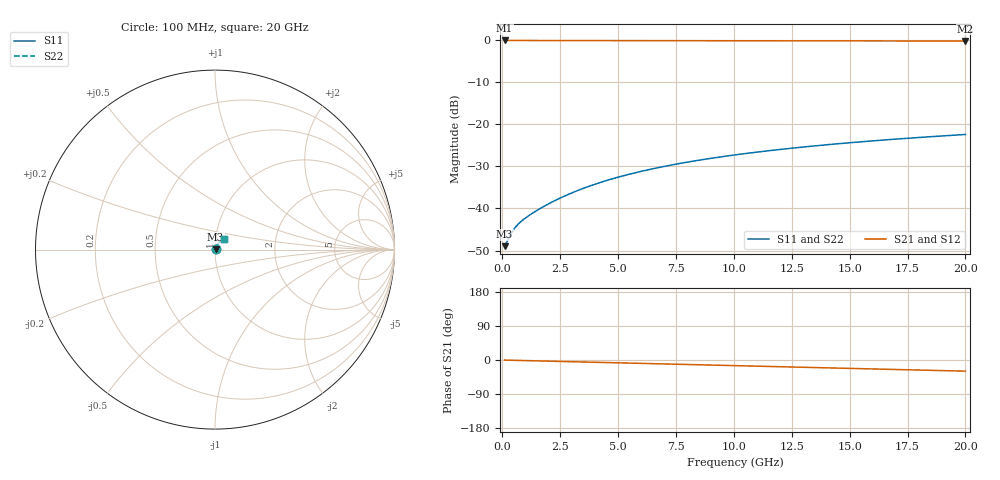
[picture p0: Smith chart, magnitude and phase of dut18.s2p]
! Touchstone file exported from HFSS 2026.1.0
!  File:  C:/ffzhzh/LocalFiles/Ansys_Project_Files/temp_test_TMRDL_18_1782907139_43084.aedt
!  Generated:  08:00:06 PM Jul  1, 2026
!  Design:  TMRDL
!  Project:  temp_test_TMRDL_18_1782907139_43084
! Variables:
!  h_bsmrdl = 2um
!  h_ox = 20um
!  h_rdl = 5um
!  h_sub = 80um
!  h_tmrdl = 2.81um
!  h_tsv = 80um
!  h_via = 3um
!  l_bsmrdl = 300um
!  l_sub = 913.11um
!  l_tmrdl = 513.11um
!  m_sub = 200um
!  pitch = 25.41um
!  r_tsv = 6um
!  s_tmrdl = 10um
!  w_bsmrdl = 18um
!  w_sub = 500um
!  w_tmrdl = 20.27um
!  x_tsv_center1 = 523.245um
!  x_tsv_center2 = 841.245um
!  x_tsv_center3 = 1374.625um
!  x_tsv_center4 = 1692.625um
!  x_tsv_center5 = 2226.005um
!  x_tsv_center6 = 2544.005um
# GHz S MA R 50.000000
! Terminal data exported
! Port[1] = TM_RDL1_1_T1
! Port[2] = TM_RDL1_1_T2
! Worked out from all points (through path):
!   200 points, 100 MHz to 20 GHz, reference 50 ohm
!   highest |S21| = -0.03 dB at 100 MHz (marker M1); lowest = -0.2 dB at 20 GHz (marker M2)
!   group delay of S21, straight-line fit = 4.07 ps
!   lowest |S11| = -49.0 dB at 100 MHz (marker M3), VSWR 1.01, Z = 50.3 + j0.087 ohm
!   |S11| at or under -10 dB: start of sweep to end of sweep
!   |S22| runs from -49.0 to -22.4 dB; largest |S21 - S12| = 2.3e-15
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0.1  0.003562 14.0  0.9965 -0.2  0.9965 -0.2  0.003562 14.0
! Gamma 0 0 0 0
! Port Impedance 50 0 50 0
0.3  0.004583 30.8  0.9961 -0.5  0.9961 -0.5  0.004583 30.8
0.4  0.005147 34.7  0.9958 -0.7  0.9958 -0.7  0.005147 34.7
0.5  0.005667 37.3  0.9955 -0.8  0.9955 -0.8  0.005667 37.3
0.6  0.006138 39.2  0.9953 -1.0  0.9953 -1.0  0.006137 39.2
0.7  0.006566 40.8  0.9951 -1.1  0.9951 -1.1  0.006566 40.8
1  0.007708 45.1  0.9947 -1.6  0.9947 -1.6  0.007707 45.1
1.5  0.009498 51.1  0.9943 -2.3  0.9943 -2.3  0.009496 51.1
2.1  0.01174 56.4  0.994 -3.2  0.994 -3.2  0.01174 56.4
2.8  0.01451 60.4  0.9937 -4.2  0.9937 -4.2  0.0145 60.4
3.5  0.01736 62.7  0.9934 -5.3  0.9934 -5.3  0.01736 62.7
4.2  0.02026 63.9  0.993 -6.3  0.993 -6.3  0.02025 64.0
5  0.02357 64.6  0.9925 -7.5  0.9925 -7.5  0.02356 64.6
5.9  0.02726 64.6  0.9919 -8.9  0.9919 -8.9  0.02725 64.6
6.8  0.03089 64.2  0.9912 -10.2  0.9912 -10.2  0.03088 64.3
8.3  0.03678 63.1  0.9901 -12.4  0.9901 -12.4  0.03677 63.1
10.1  0.04356 61.2  0.9887 -15.1  0.9887 -15.1  0.04355 61.2
11.7  0.04933 59.3  0.9874 -17.4  0.9874 -17.4  0.04931 59.4
13.4  0.05521 57.2  0.9861 -19.9  0.9861 -19.9  0.05518 57.3
15  0.06052 55.2  0.9848 -22.2  0.9848 -22.2  0.06049 55.3
16.7  0.06594 53.1  0.9836 -24.6  0.9836 -24.6  0.0659 53.2
20  0.07588 48.9  0.9814 -29.4  0.9814 -29.4  0.07583 49.0
